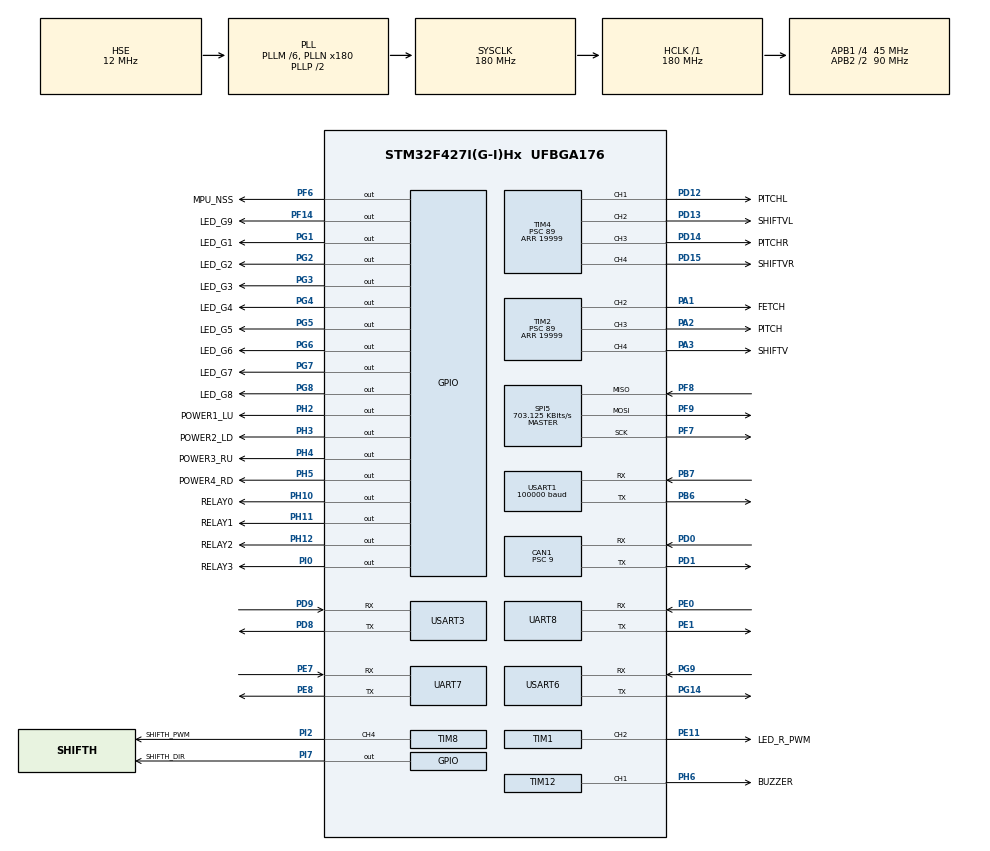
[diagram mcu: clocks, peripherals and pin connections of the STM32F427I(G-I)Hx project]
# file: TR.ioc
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CAN1.ABOM=ENABLE
CAN1.AWUM=ENABLE
CAN1.BS1=CAN_BS1_3TQ
CAN1.CalculateBaudRate=1000000
CAN1.CalculateTimeBit=1000.00
CAN1.CalculateTimeQuantum=200.0
CAN1.NART=DISABLE
CAN1.Prescaler=9
Dma.Request0=USART1_RX
Dma.Request1=USART6_RX
Dma.Request2=USART6_TX
Dma.Request3=UART8_RX
Dma.Request4=UART7_RX
Dma.Request5=USART3_RX
Dma.UART7_RX.4.Direction=DMA_PERIPH_TO_MEMORY
Dma.UART7_RX.4.FIFOMode=DMA_FIFOMODE_DISABLE
Dma.UART7_RX.4.Instance=DMA1_Stream3
Dma.UART7_RX.4.MemDataAlignment=DMA_MDATAALIGN_BYTE
Dma.UART7_RX.4.MemInc=DMA_MINC_ENABLE
Dma.UART7_RX.4.Mode=DMA_NORMAL
Dma.UART7_RX.4.PeriphDataAlignment=DMA_PDATAALIGN_BYTE
Dma.UART7_RX.4.PeriphInc=DMA_PINC_DISABLE
Dma.UART7_RX.4.Priority=DMA_PRIORITY_VERY_HIGH
Dma.UART8_RX.3.Direction=DMA_PERIPH_TO_MEMORY
Dma.UART8_RX.3.FIFOMode=DMA_FIFOMODE_DISABLE
Dma.UART8_RX.3.Instance=DMA1_Stream6
Dma.UART8_RX.3.MemDataAlignment=DMA_MDATAALIGN_BYTE
Dma.UART8_RX.3.MemInc=DMA_MINC_ENABLE
Dma.UART8_RX.3.Mode=DMA_NORMAL
Dma.UART8_RX.3.PeriphDataAlignment=DMA_PDATAALIGN_BYTE
Dma.UART8_RX.3.PeriphInc=DMA_PINC_DISABLE
Dma.UART8_RX.3.Priority=DMA_PRIORITY_VERY_HIGH
Dma.USART1_RX.0.Direction=DMA_PERIPH_TO_MEMORY
Dma.USART1_RX.0.FIFOMode=DMA_FIFOMODE_DISABLE
Dma.USART1_RX.0.Instance=DMA2_Stream2
Dma.USART1_RX.0.MemDataAlignment=DMA_MDATAALIGN_BYTE
Dma.USART1_RX.0.MemInc=DMA_MINC_ENABLE
Dma.USART1_RX.0.Mode=DMA_NORMAL
Dma.USART1_RX.0.PeriphDataAlignment=DMA_PDATAALIGN_BYTE
Dma.USART1_RX.0.PeriphInc=DMA_PINC_DISABLE
Dma.USART1_RX.0.Priority=DMA_PRIORITY_VERY_HIGH
Dma.USART3_RX.5.Direction=DMA_PERIPH_TO_MEMORY
Dma.USART3_RX.5.FIFOMode=DMA_FIFOMODE_DISABLE
Dma.USART3_RX.5.Instance=DMA1_Stream1
Dma.USART3_RX.5.MemDataAlignment=DMA_MDATAALIGN_BYTE
Dma.USART3_RX.5.MemInc=DMA_MINC_ENABLE
Dma.USART3_RX.5.Mode=DMA_NORMAL
Dma.USART3_RX.5.PeriphDataAlignment=DMA_PDATAALIGN_BYTE
Dma.USART3_RX.5.PeriphInc=DMA_PINC_DISABLE
Dma.USART3_RX.5.Priority=DMA_PRIORITY_VERY_HIGH
Dma.USART6_RX.1.Direction=DMA_PERIPH_TO_MEMORY
Dma.USART6_RX.1.FIFOMode=DMA_FIFOMODE_DISABLE
Dma.USART6_RX.1.Instance=DMA2_Stream1
Dma.USART6_RX.1.MemDataAlignment=DMA_MDATAALIGN_BYTE
Dma.USART6_RX.1.MemInc=DMA_MINC_ENABLE
Dma.USART6_RX.1.Mode=DMA_NORMAL
Dma.USART6_RX.1.PeriphDataAlignment=DMA_PDATAALIGN_BYTE
Dma.USART6_RX.1.PeriphInc=DMA_PINC_DISABLE
Dma.USART6_RX.1.Priority=DMA_PRIORITY_VERY_HIGH
Dma.USART6_TX.2.Direction=DMA_MEMORY_TO_PERIPH
Dma.USART6_TX.2.FIFOMode=DMA_FIFOMODE_DISABLE
Dma.USART6_TX.2.Instance=DMA2_Stream6
Dma.USART6_TX.2.MemDataAlignment=DMA_MDATAALIGN_BYTE
Dma.USART6_TX.2.MemInc=DMA_MINC_ENABLE
Dma.USART6_TX.2.Mode=DMA_NORMAL
Dma.USART6_TX.2.PeriphDataAlignment=DMA_PDATAALIGN_BYTE
Dma.USART6_TX.2.PeriphInc=DMA_PINC_DISABLE
Dma.USART6_TX.2.Priority=DMA_PRIORITY_LOW
FREERTOS.INCLUDE_xTaskGetHandle=1
FREERTOS.Tasks01=led,24,128,task_led,As weak,NULL,Static,ledBuffer,ledControlBlock;chassis,48,512,task_chassis,As external,NULL,Static,chassisBuffer,chassisControlBlock;archery,48,512,task_archery,As external,NULL,Static,archeryBuffer,archeryControlBlock;arrow,48,128,task_arrow,As external,NULL,Dynamic,NULL,NULL;debug,24,128,task_debug,As external,NULL,Static,debugBuffer,debugControlBlock;shoot,48,128,task_shoot,As external,NULL,Dynamic,NULL,NULL
Mcu.Family=STM32F4
Mcu.Name=STM32F427I(G-I)Hx
Mcu.Package=UFBGA176
NVIC.CAN1_RX0_IRQn=true\:5\:0\:false\:false\:true\:true\:true\:true
NVIC.DMA1_Stream1_IRQn=true\:5\:0\:false\:false\:true\:true\:false\:true
NVIC.DMA1_Stream3_IRQn=true\:5\:0\:false\:false\:true\:true\:false\:true
NVIC.DMA1_Stream6_IRQn=true\:5\:0\:false\:false\:true\:true\:false\:true
NVIC.DMA2_Stream1_IRQn=true\:5\:0\:false\:false\:true\:true\:false\:true
NVIC.DMA2_Stream2_IRQn=true\:5\:0\:false\:false\:true\:true\:false\:true
NVIC.DMA2_Stream6_IRQn=true\:5\:0\:false\:false\:true\:true\:false\:true
NVIC.PriorityGroup=NVIC_PRIORITYGROUP_4
NVIC.TIM5_IRQn=true\:5\:0\:false\:false\:false\:true\:true\:true
NVIC.UART7_IRQn=true\:5\:0\:false\:false\:false\:true\:true\:true
NVIC.UART8_IRQn=true\:5\:0\:false\:false\:false\:true\:true\:true
NVIC.USART1_IRQn=true\:5\:0\:true\:false\:false\:true\:true\:true
NVIC.USART3_IRQn=true\:5\:0\:false\:false\:false\:true\:true\:true
NVIC.USART6_IRQn=true\:5\:0\:true\:false\:false\:true\:true\:true
PA1.GPIO_Label=FETCH
PA1.Signal=S_TIM2_CH2
PA13.Mode=Serial_Wire
PA13.Signal=SYS_JTMS-SWDIO
PA14.Mode=Serial_Wire
PA14.Signal=SYS_JTCK-SWCLK
PA2.GPIO_Label=PITCH
PA2.Signal=S_TIM2_CH3
PA3.GPIO_Label=SHIFTV
PA3.Signal=S_TIM2_CH4
PB6.Mode=Asynchronous
PB6.Signal=USART1_TX
PB7.Mode=Asynchronous
PB7.Signal=USART1_RX
PC14/OSC32_IN.Mode=LSE-External-Oscillator
PC14/OSC32_IN.Signal=RCC_OSC32_IN
PC15/OSC32_OUT.Mode=LSE-External-Oscillator
PC15/OSC32_OUT.Signal=RCC_OSC32_OUT
PD0.Mode=CAN_Activate
PD0.Signal=CAN1_RX
PD1.Mode=CAN_Activate
PD1.Signal=CAN1_TX
PD12.GPIO_Label=PITCHL
PD12.Signal=S_TIM4_CH1
PD13.GPIO_Label=SHIFTVL
PD13.Signal=S_TIM4_CH2
PD14.GPIO_Label=PITCHR
PD14.Signal=S_TIM4_CH3
PD15.GPIO_Label=SHIFTVR
PD15.Signal=S_TIM4_CH4
PD8.Mode=Asynchronous
PD8.Signal=USART3_TX
PD9.Mode=Asynchronous
PD9.Signal=USART3_RX
PE0.Mode=Asynchronous
PE0.Signal=UART8_RX
PE1.Mode=Asynchronous
PE1.Signal=UART8_TX
PE11.GPIO_Label=LED_R_PWM
PE11.Signal=S_TIM1_CH2
PE7.Mode=Asynchronous
PE7.Signal=UART7_RX
PE8.Mode=Asynchronous
PE8.Signal=UART7_TX
PF14.GPIO_Label=LED_G9
PF14.PinState=GPIO_PIN_SET
PF14.Signal=GPIO_Output
PF6.GPIO_Label=MPU_NSS
PF6.Signal=GPIO_Output
PF7.Mode=Full_Duplex_Master
PF7.Signal=SPI5_SCK
PF8.Mode=Full_Duplex_Master
PF8.Signal=SPI5_MISO
PF9.Mode=Full_Duplex_Master
PF9.Signal=SPI5_MOSI
PG1.GPIO_Label=LED_G1
PG1.PinState=GPIO_PIN_SET
PG1.Signal=GPIO_Output
PG14.Mode=Asynchronous
PG14.Signal=USART6_TX
PG2.GPIO_Label=LED_G2
PG2.PinState=GPIO_PIN_SET
PG2.Signal=GPIO_Output
PG3.GPIO_Label=LED_G3
PG3.PinState=GPIO_PIN_SET
PG3.Signal=GPIO_Output
PG4.GPIO_Label=LED_G4
PG4.PinState=GPIO_PIN_SET
PG4.Signal=GPIO_Output
PG5.GPIO_Label=LED_G5
PG5.PinState=GPIO_PIN_SET
PG5.Signal=GPIO_Output
PG6.GPIO_Label=LED_G6
PG6.PinState=GPIO_PIN_SET
PG6.Signal=GPIO_Output
PG7.GPIO_Label=LED_G7
PG7.PinState=GPIO_PIN_SET
PG7.Signal=GPIO_Output
PG8.GPIO_Label=LED_G8
PG8.PinState=GPIO_PIN_SET
PG8.Signal=GPIO_Output
PG9.Mode=Asynchronous
PG9.Signal=USART6_RX
PH0/OSC_IN.Mode=HSE-External-Oscillator
PH0/OSC_IN.Signal=RCC_OSC_IN
PH1/OSC_OUT.Mode=HSE-External-Oscillator
PH1/OSC_OUT.Signal=RCC_OSC_OUT
PH10.GPIO_Label=RELAY0
PH10.GPIO_ModeDefaultOutputPP=GPIO_MODE_OUTPUT_PP
PH10.GPIO_PuPd=GPIO_PULLUP
PH10.PinState=GPIO_PIN_SET
PH10.Signal=GPIO_Output
PH11.GPIO_Label=RELAY1
PH11.GPIO_ModeDefaultOutputPP=GPIO_MODE_OUTPUT_PP
PH11.GPIO_PuPd=GPIO_PULLUP
PH11.PinState=GPIO_PIN_SET
PH11.Signal=GPIO_Output
PH12.GPIO_Label=RELAY2
PH12.GPIO_ModeDefaultOutputPP=GPIO_MODE_OUTPUT_PP
PH12.GPIO_PuPd=GPIO_PULLUP
PH12.PinState=GPIO_PIN_SET
PH12.Signal=GPIO_Output
PH2.GPIO_Label=POWER1_LU
PH2.GPIO_PuPd=GPIO_NOPULL
PH2.PinState=GPIO_PIN_RESET
PH2.Signal=GPIO_Output
PH3.GPIO_Label=POWER2_LD
PH3.GPIO_PuPd=GPIO_NOPULL
PH3.PinState=GPIO_PIN_RESET
PH3.Signal=GPIO_Output
PH4.GPIO_Label=POWER3_RU
PH4.GPIO_PuPd=GPIO_NOPULL
PH4.PinState=GPIO_PIN_RESET
PH4.Signal=GPIO_Output
PH5.GPIO_Label=POWER4_RD
PH5.GPIO_PuPd=GPIO_NOPULL
PH5.PinState=GPIO_PIN_RESET
PH5.Signal=GPIO_Output
PH6.GPIO_Label=BUZZER
PH6.Signal=S_TIM12_CH1
PI0.GPIO_Label=RELAY3
PI0.GPIO_ModeDefaultOutputPP=GPIO_MODE_OUTPUT_PP
PI0.GPIO_PuPd=GPIO_PULLUP
PI0.PinState=GPIO_PIN_SET
PI0.Signal=GPIO_Output
PI2.GPIO_Label=SHIFTH_PWM
PI2.GPIO_ModeDefaultPP=GPIO_MODE_AF_OD
PI2.Signal=S_TIM8_CH4
PI7.GPIO_Label=SHIFTH_DIR
PI7.GPIO_ModeDefaultOutputPP=GPIO_MODE_OUTPUT_OD
PI7.Signal=GPIO_Output
ProjectManager.HeapSize=0x200
ProjectManager.StackSize=0x400
ProjectManager.TargetToolchain=Makefile
RCC.48MHZClocksFreq_Value=90000000
RCC.AHBFreq_Value=180000000
RCC.APB1CLKDivider=RCC_HCLK_DIV4
RCC.APB1Freq_Value=45000000
RCC.APB1TimFreq_Value=90000000
RCC.APB2CLKDivider=RCC_HCLK_DIV2
RCC.APB2Freq_Value=90000000
RCC.APB2TimFreq_Value=180000000
RCC.CortexFreq_Value=180000000
RCC.HCLKFreq_Value=180000000
RCC.HSE_VALUE=12000000
RCC.HSI_VALUE=16000000
RCC.PLLM=6
RCC.PLLN=180
RCC.PLLSourceVirtual=RCC_PLLSOURCE_HSE
RCC.SYSCLKFreq_VALUE=180000000
RCC.SYSCLKSource=RCC_SYSCLKSOURCE_PLLCLK
RCC.VCOOutputFreq_Value=360000000
SH.S_TIM12_CH1.0=TIM12_CH1,PWM Generation1 CH1
SH.S_TIM1_CH2.0=TIM1_CH2,PWM Generation2 CH2
SH.S_TIM2_CH2.0=TIM2_CH2,PWM Generation2 CH2
SH.S_TIM2_CH3.0=TIM2_CH3,PWM Generation3 CH3
SH.S_TIM2_CH4.0=TIM2_CH4,PWM Generation4 CH4
SH.S_TIM4_CH1.0=TIM4_CH1,PWM Generation1 CH1
SH.S_TIM4_CH2.0=TIM4_CH2,PWM Generation2 CH2
SH.S_TIM4_CH3.0=TIM4_CH3,PWM Generation3 CH3
SH.S_TIM4_CH4.0=TIM4_CH4,PWM Generation4 CH4
SH.S_TIM8_CH4.0=TIM8_CH4,PWM Generation4 CH4
SPI5.BaudRatePrescaler=SPI_BAUDRATEPRESCALER_128
SPI5.CalculateBaudRate=703.125 KBits/s
SPI5.Direction=SPI_DIRECTION_2LINES
SPI5.Mode=SPI_MODE_MASTER
SPI5.VirtualType=VM_MASTER
TIM1.AutoReloadPreload=TIM_AUTORELOAD_PRELOAD_ENABLE
TIM1.Channel-PWM\ Generation2\ CH2=TIM_CHANNEL_2
TIM12.Channel-PWM\ Generation1\ CH1=TIM_CHANNEL_1
TIM12.OCPolarity_1=TIM_OCPOLARITY_LOW
TIM12.Period=33333
TIM2.AutoReloadPreload=TIM_AUTORELOAD_PRELOAD_ENABLE
TIM2.Channel-PWM\ Generation2\ CH2=TIM_CHANNEL_2
TIM2.Channel-PWM\ Generation3\ CH3=TIM_CHANNEL_3
TIM2.Channel-PWM\ Generation4\ CH4=TIM_CHANNEL_4
TIM2.Period=19999
TIM2.Prescaler=89
TIM4.AutoReloadPreload=TIM_AUTORELOAD_PRELOAD_ENABLE
TIM4.Channel-PWM\ Generation1\ CH1=TIM_CHANNEL_1
TIM4.Channel-PWM\ Generation2\ CH2=TIM_CHANNEL_2
TIM4.Channel-PWM\ Generation3\ CH3=TIM_CHANNEL_3
TIM4.Channel-PWM\ Generation4\ CH4=TIM_CHANNEL_4
TIM4.Period=19999
TIM4.Prescaler=89
TIM8.AutoReloadPreload=TIM_AUTORELOAD_PRELOAD_ENABLE
TIM8.Channel-PWM\ Generation4\ CH4=TIM_CHANNEL_4
TIM8.Period=1800
TIM8.Pulse-PWM\ Generation4\ CH4=900
TIM8.TIM_MasterOutputTrigger=TIM_TRGO_UPDATE
TIM8.TIM_MasterSlaveMode=TIM_MASTERSLAVEMODE_ENABLE
UART7.VirtualMode=Asynchronous
UART8.VirtualMode=Asynchronous
USART1.BaudRate=100000
USART1.Mode=MODE_RX
USART1.Parity=PARITY_EVEN
USART1.VirtualMode=VM_ASYNC
USART3.VirtualMode=VM_ASYNC
USART6.VirtualMode=VM_ASYNC
VP_FREERTOS_VS_CMSIS_V2.Mode=CMSIS_V2
VP_TIM5_VS_ClockSourceITR.Mode=TriggerSource_ITR3
VP_TIM5_VS_ControllerModeClock.Mode=Clock Mode
board=custom

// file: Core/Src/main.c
/* USER CODE BEGIN Header */
/**
  ******************************************************************************
  * @file           : main.c
  * @brief          : Main program body
  ******************************************************************************
  * @attention
  *
  * <h2><center>&copy; Copyright (c) 2021 STMicroelectronics.
  * All rights reserved.</center></h2>
  *
  * This software component is licensed by ST under BSD 3-Clause license,
  * the "License"; You may not use this file except in compliance with the
  * License. You may obtain a copy of the License at:
  *                        opensource.org/licenses/BSD-3-Clause
  *
  ******************************************************************************
  */
/* USER CODE END Header */
#include "main.h"
#include "cmsis_os.h"
#include "can.h"
#include "dma.h"
#include "spi.h"
#include "tim.h"
#include "usart.h"
#include "gpio.h"

/* USER CODE BEGIN Includes */
#include "app.h"
/* USER CODE END Includes */

void SystemClock_Config(void);
void MX_FREERTOS_Init(void);

int main(void)
{

    /* MCU Configuration--------------------------------------------------------*/

    /* Reset of all peripherals, Initializes the Flash interface and the Systick. */
    HAL_Init();

    /* Configure the system clock */
    SystemClock_Config();

    /* Initialize all configured peripherals */
    MX_GPIO_Init();
    MX_DMA_Init();
    MX_TIM1_Init();
    MX_TIM12_Init();
    MX_USART1_UART_Init();
    MX_USART6_UART_Init();
    MX_CAN1_Init();
    MX_TIM4_Init();
    MX_TIM8_Init();
    MX_UART8_Init();
    MX_UART7_Init();
    MX_TIM5_Init();
    MX_TIM2_Init();
    MX_USART3_UART_Init();
    MX_SPI5_Init();
    /* USER CODE BEGIN 2 */
    delay_init();
    buzzer_start();
    ctrl_rc_init();
    os_dma_init();
    l1s_init();
    os_printf("OK\r\n");
    /* USER CODE END 2 */

    /* Init scheduler */
    osKernelInitialize(); /* Call init function for freertos objects (in freertos.c) */
    MX_FREERTOS_Init();
    /* Start scheduler */
    osKernelStart();

    /* We should never get here as control is now taken by the scheduler */
    /* Infinite loop */
    while (1)
    {

    }
}

void SystemClock_Config(void)
{
    RCC_OscInitTypeDef RCC_OscInitStruct = {0};
    RCC_ClkInitTypeDef RCC_ClkInitStruct = {0};

    /** Configure the main internal regulator output voltage
  */
    __HAL_RCC_PWR_CLK_ENABLE();
    __HAL_PWR_VOLTAGESCALING_CONFIG(PWR_REGULATOR_VOLTAGE_SCALE1);
    /** Initializes the RCC Oscillators according to the specified parameters
  * in the RCC_OscInitTypeDef structure.
  */
    RCC_OscInitStruct.OscillatorType = RCC_OSCILLATORTYPE_HSE;
    RCC_OscInitStruct.HSEState = RCC_HSE_ON;
    RCC_OscInitStruct.PLL.PLLState = RCC_PLL_ON;
    RCC_OscInitStruct.PLL.PLLSource = RCC_PLLSOURCE_HSE;
    RCC_OscInitStruct.PLL.PLLM = 6;
    RCC_OscInitStruct.PLL.PLLN = 180;
    RCC_OscInitStruct.PLL.PLLP = RCC_PLLP_DIV2;
    RCC_OscInitStruct.PLL.PLLQ = 4;
    if (HAL_RCC_OscConfig(&RCC_OscInitStruct) != HAL_OK)
    {
        Error_Handler();
    }
    /** Activate the Over-Drive mode
  */
    if (HAL_PWREx_EnableOverDrive() != HAL_OK)
    {
        Error_Handler();
    }
    /** Initializes the CPU, AHB and APB buses clocks
  */
    RCC_ClkInitStruct.ClockType = RCC_CLOCKTYPE_HCLK | RCC_CLOCKTYPE_SYSCLK | RCC_CLOCKTYPE_PCLK1 | RCC_CLOCKTYPE_PCLK2;
    RCC_ClkInitStruct.SYSCLKSource = RCC_SYSCLKSOURCE_PLLCLK;
    RCC_ClkInitStruct.AHBCLKDivider = RCC_SYSCLK_DIV1;
    RCC_ClkInitStruct.APB1CLKDivider = RCC_HCLK_DIV4;
    RCC_ClkInitStruct.APB2CLKDivider = RCC_HCLK_DIV2;

    if (HAL_RCC_ClockConfig(&RCC_ClkInitStruct, FLASH_LATENCY_5) != HAL_OK)
    {
        Error_Handler();
    }
}

void Error_Handler(void)
{
    /* USER CODE BEGIN Error_Handler_Debug */
    /* User can add his own implementation to report the HAL error return state */
    __disable_irq();
    led_green(LED_OFF);
    delay_init();
    led_pwm_start();
    buzzer_start();
    static uint8_t flag = 0;
    static uint8_t i = 0;
    while (1)
    {
        if (i == 0U)
        {
            flag = 1;
            buzzer_set(4, 0xFF);
        }
        else if (i == 0xFFU)
        {
            flag = 0;
            buzzer_set(4, 0);
        }

        led_pwm_set((uint16_t)(i << 8U));
        delay_ms(4);

        if (flag)
        {
            i++;
        }
        else
        {
            i--;
        }
    }
    /* USER CODE END Error_Handler_Debug */
}

/************************ (C) COPYRIGHT STMicroelectronics *****END OF FILE****/

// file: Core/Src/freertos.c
/* USER CODE BEGIN Header */
/**
  ******************************************************************************
  * File Name          : freertos.c
  * Description        : Code for freertos applications
  ******************************************************************************
  * @attention
  *
  * <h2><center>&copy; Copyright (c) 2021 STMicroelectronics.
  * All rights reserved.</center></h2>
  *
  * This software component is licensed by ST under Ultimate Liberty license
  * SLA0044, the "License"; You may not use this file except in compliance with
  * the License. You may obtain a copy of the License at:
  *                             www.st.com/SLA0044
  *
  ******************************************************************************
  */
/* USER CODE END Header */

#include "FreeRTOS.h"
#include "task.h"
#include "main.h"
#include "cmsis_os.h"

typedef StaticTask_t osStaticThreadDef_t;

/* Definitions for led */
osThreadId_t ledHandle;
uint32_t ledBuffer[ 128 ];
osStaticThreadDef_t ledControlBlock;
const osThreadAttr_t led_attributes = {
  .name = "led",
  .cb_mem = &ledControlBlock,
  .cb_size = sizeof(ledControlBlock),
  .stack_mem = &ledBuffer[0],
  .stack_size = sizeof(ledBuffer),
  .priority = (osPriority_t) osPriorityNormal,
};
/* Definitions for chassis */
osThreadId_t chassisHandle;
uint32_t chassisBuffer[ 512 ];
osStaticThreadDef_t chassisControlBlock;
const osThreadAttr_t chassis_attributes = {
  .name = "chassis",
  .cb_mem = &chassisControlBlock,
  .cb_size = sizeof(chassisControlBlock),
  .stack_mem = &chassisBuffer[0],
  .stack_size = sizeof(chassisBuffer),
  .priority = (osPriority_t) osPriorityRealtime,
};
/* Definitions for archery */
osThreadId_t archeryHandle;
uint32_t archeryBuffer[ 512 ];
osStaticThreadDef_t archeryControlBlock;
const osThreadAttr_t archery_attributes = {
  .name = "archery",
  .cb_mem = &archeryControlBlock,
  .cb_size = sizeof(archeryControlBlock),
  .stack_mem = &archeryBuffer[0],
  .stack_size = sizeof(archeryBuffer),
  .priority = (osPriority_t) osPriorityRealtime,
};
/* Definitions for arrow */
osThreadId_t arrowHandle;
const osThreadAttr_t arrow_attributes = {
  .name = "arrow",
  .stack_size = 128 * 4,
  .priority = (osPriority_t) osPriorityRealtime,
};
/* Definitions for debug */
osThreadId_t debugHandle;
uint32_t debugBuffer[ 128 ];
osStaticThreadDef_t debugControlBlock;
const osThreadAttr_t debug_attributes = {
  .name = "debug",
  .cb_mem = &debugControlBlock,
  .cb_size = sizeof(debugControlBlock),
  .stack_mem = &debugBuffer[0],
  .stack_size = sizeof(debugBuffer),
  .priority = (osPriority_t) osPriorityNormal,
};
/* Definitions for shoot */
osThreadId_t shootHandle;
const osThreadAttr_t shoot_attributes = {
  .name = "shoot",
  .stack_size = 128 * 4,
  .priority = (osPriority_t) osPriorityRealtime,
};

void task_led(void *argument);
extern void task_chassis(void *argument);
extern void task_archery(void *argument);
extern void task_arrow(void *argument);
extern void task_debug(void *argument);
extern void task_shoot(void *argument);

void MX_FREERTOS_Init(void); /* (MISRA C 2004 rule 8.1) */

void MX_FREERTOS_Init(void) {

  /* Create the thread(s) */
  /* creation of led */
  ledHandle = osThreadNew(task_led, NULL, &led_attributes);

  /* creation of chassis */
  chassisHandle = osThreadNew(task_chassis, NULL, &chassis_attributes);

  /* creation of archery */
  archeryHandle = osThreadNew(task_archery, NULL, &archery_attributes);

  /* creation of arrow */
  arrowHandle = osThreadNew(task_arrow, NULL, &arrow_attributes);

  /* creation of debug */
  debugHandle = osThreadNew(task_debug, NULL, &debug_attributes);

  /* creation of shoot */
  shootHandle = osThreadNew(task_shoot, NULL, &shoot_attributes);

}

__weak void task_led(void *argument)
{
  /* USER CODE BEGIN task_led */
  (void)argument;
  /* Infinite loop */
  for(;;)
  {
    osDelay(1);
  }
  /* USER CODE END task_led */
}

/************************ (C) COPYRIGHT STMicroelectronics *****END OF FILE****/
